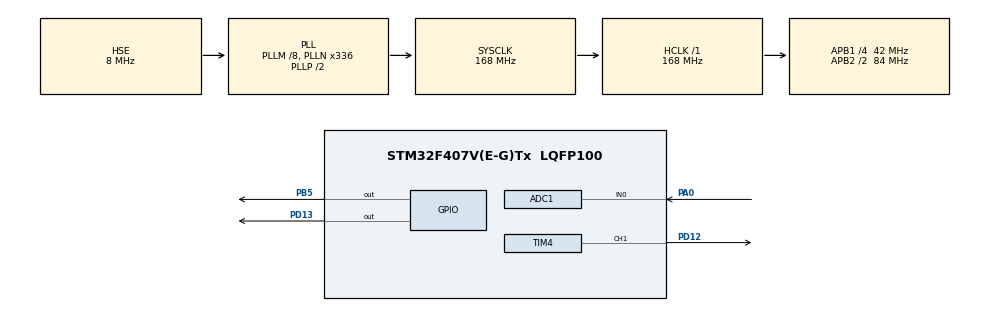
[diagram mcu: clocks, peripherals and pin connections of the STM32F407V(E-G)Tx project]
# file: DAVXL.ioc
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ADC1.Channel-0\#ChannelRegularConversion=ADC_CHANNEL_0
ADC1.ContinuousConvMode=ENABLE
ADC1.DMAContinuousRequests=ENABLE
ADC1.EnableAnalogWatchDog=false
ADC1.ExternalTrigConv=ADC_EXTERNALTRIGCONV_T3_TRGO
ADC1.NbrOfConversionFlag=1
ADC1.Rank-0\#ChannelRegularConversion=1
ADC1.SamplingTime-0\#ChannelRegularConversion=ADC_SAMPLETIME_3CYCLES
ADC1.master=1
Dma.ADC1.0.Direction=DMA_PERIPH_TO_MEMORY
Dma.ADC1.0.FIFOMode=DMA_FIFOMODE_DISABLE
Dma.ADC1.0.Instance=DMA2_Stream0
Dma.ADC1.0.MemDataAlignment=DMA_MDATAALIGN_HALFWORD
Dma.ADC1.0.MemInc=DMA_MINC_ENABLE
Dma.ADC1.0.Mode=DMA_CIRCULAR
Dma.ADC1.0.PeriphDataAlignment=DMA_PDATAALIGN_HALFWORD
Dma.ADC1.0.PeriphInc=DMA_PINC_DISABLE
Dma.ADC1.0.Priority=DMA_PRIORITY_LOW
Dma.Request0=ADC1
Dma.Request1=TIM4_CH1
Dma.TIM4_CH1.1.Direction=DMA_MEMORY_TO_PERIPH
Dma.TIM4_CH1.1.FIFOMode=DMA_FIFOMODE_DISABLE
Dma.TIM4_CH1.1.Instance=DMA1_Stream0
Dma.TIM4_CH1.1.MemDataAlignment=DMA_MDATAALIGN_HALFWORD
Dma.TIM4_CH1.1.MemInc=DMA_MINC_ENABLE
Dma.TIM4_CH1.1.Mode=DMA_NORMAL
Dma.TIM4_CH1.1.PeriphDataAlignment=DMA_PDATAALIGN_HALFWORD
Dma.TIM4_CH1.1.PeriphInc=DMA_PINC_DISABLE
Dma.TIM4_CH1.1.Priority=DMA_PRIORITY_LOW
Mcu.Family=STM32F4
Mcu.Name=STM32F407V(E-G)Tx
Mcu.Package=LQFP100
Mcu.UserConstants=LED_CNT,105
NVIC.DMA1_Stream0_IRQn=true\:0\:0\:false\:false\:true\:false\:true\:true
NVIC.DMA2_Stream0_IRQn=true\:0\:0\:false\:false\:true\:false\:true\:true
NVIC.PriorityGroup=NVIC_PRIORITYGROUP_4
NVIC.TIM3_IRQn=true\:0\:0\:false\:false\:true\:true\:true\:true
PA0-WKUP.Signal=ADCx_IN0
PB5.Signal=GPIO_Output
PD12.Signal=S_TIM4_CH1
PD13.Signal=GPIO_Output
PH0-OSC_IN.Mode=HSE-External-Oscillator
PH0-OSC_IN.Signal=RCC_OSC_IN
PH1-OSC_OUT.Mode=HSE-External-Oscillator
PH1-OSC_OUT.Signal=RCC_OSC_OUT
ProjectManager.HeapSize=0x200
ProjectManager.StackSize=0x400
ProjectManager.TargetToolchain=STM32CubeIDE
RCC.48MHZClocksFreq_Value=84000000
RCC.AHBFreq_Value=168000000
RCC.APB1CLKDivider=RCC_HCLK_DIV4
RCC.APB1Freq_Value=42000000
RCC.APB1TimFreq_Value=84000000
RCC.APB2CLKDivider=RCC_HCLK_DIV2
RCC.APB2Freq_Value=84000000
RCC.APB2TimFreq_Value=168000000
RCC.CortexFreq_Value=168000000
RCC.HCLKFreq_Value=168000000
RCC.HSE_VALUE=8000000
RCC.HSI_VALUE=16000000
RCC.LSE_VALUE=32768
RCC.PLLM=8
RCC.PLLN=336
RCC.PLLSourceVirtual=RCC_PLLSOURCE_HSE
RCC.SYSCLKFreq_VALUE=168000000
RCC.SYSCLKSource=RCC_SYSCLKSOURCE_PLLCLK
RCC.VCOOutputFreq_Value=336000000
SH.ADCx_IN0.0=ADC1_IN0,IN0
SH.S_TIM4_CH1.0=TIM4_CH1,PWM Generation1 CH1
STMicroelectronics.X-CUBE-ALGOBUILD.1.4.0.LibraryCcDSPOoLibraryJjDSPOoLibrary=true
TIM3.Period=20-1
TIM3.Prescaler=200-1
TIM3.TIM_MasterOutputTrigger=TIM_TRGO_UPDATE
TIM4.Channel-PWM\ Generation1\ CH1=TIM_CHANNEL_1
TIM4.Period=LED_CNT
VP_STMicroelectronics.X-CUBE-ALGOBUILD_VS_DSPOoLibraryJjLibrary_1.4.0_1.4.0.Mode=DSPOoLibraryJjLibrary
VP_TIM3_VS_ClockSourceINT.Mode=Internal
VP_TIM4_VS_ClockSourceINT.Mode=Internal
board=custom

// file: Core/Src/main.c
/* USER CODE BEGIN Header */
/**
  ******************************************************************************
  * @file           : main.c
  * @brief          : Main program body
  ******************************************************************************
  * @attention
  *
  * Copyright (c) 2025 STMicroelectronics.
  * All rights reserved.
  *
  * This software is licensed under terms that can be found in the LICENSE file
  * in the root directory of this software component.
  * If no LICENSE file comes with this software, it is provided AS-IS.
  *
  ******************************************************************************
  */
/* USER CODE END Header */
#include "main.h"

/* USER CODE BEGIN Includes */
#include "stdlib.h"
#include "arm_math.h"
#include "ws2812.h"
#define min(a,b) (((a)<(b))?(a):(b))
#define SamplesFFT 32
#define MATRIX_WIDTH 8
#define MATRIX_HEIGHT 8
/* USER CODE END Includes */

/* USER CODE BEGIN PTD */
ws2812_handleTypeDef ws2812; // The WS2812 panel handler
/* USER CODE END PTD */

ADC_HandleTypeDef hadc1;
DMA_HandleTypeDef hdma_adc1;

TIM_HandleTypeDef htim3;
TIM_HandleTypeDef htim4;
DMA_HandleTypeDef hdma_tim4_ch1;

void SystemClock_Config(void);
static void MX_GPIO_Init(void);
static void MX_DMA_Init(void);
static void MX_ADC1_Init(void);
static void MX_TIM3_Init(void);
static void MX_TIM4_Init(void);

/* USER CODE BEGIN 0 */

uint32_t adcValue[SamplesFFT];
float32_t input[SamplesFFT];
float32_t output[SamplesFFT];
uint32_t doConvert = SamplesFFT;
uint8_t spectrum[MATRIX_WIDTH];
void HAL_TIM_PeriodElapsedCallback(TIM_HandleTypeDef *htim){
	if (htim->Instance == TIM3) {
	        if (doConvert > 0) doConvert--;
	    }
}

// Done sending first half of the DMA buffer - this can now safely be updated
void HAL_TIM_PWM_PulseFinishedHalfCpltCallback(TIM_HandleTypeDef *htim) {

    if (htim->Instance == TIM4) {
        ws2812_update_buffer(&ws2812, &ws2812.dma_buffer[0]);
    }

}

// Done sending the second half of the DMA buffer - this can now be safely updated
void HAL_TIM_PWM_PulseFinishedCallback(TIM_HandleTypeDef *htim) {

    if (htim->Instance == TIM4) {
        ws2812_update_buffer(&ws2812, &ws2812.dma_buffer[BUFFER_SIZE]);
    }

}

void intensity_to_rgb(uint8_t intensity, uint8_t *r, uint8_t *g, uint8_t *b) {
    if (intensity == 0) {
        *r = 0; *g = 0; *b = 0;
    } else {
        *r = 0;
        *g = 200;
        *b = 0;
    }
}

// Hàm hiển thị spectrum trên ma trận 8x8
void display_spectrum(ws2812_handleTypeDef *ws2812, uint8_t spectrum[MATRIX_WIDTH]) {
    zeroLedValues(ws2812); // Xóa buffer LED

    for (int x = 0; x < MATRIX_WIDTH; x++) {
        uint8_t height = spectrum[x] > MATRIX_HEIGHT ? MATRIX_HEIGHT : spectrum[x];
        for (int y = 0; y < MATRIX_HEIGHT; y++) {
            int led_idx = (x % 2 == 0) ? (x * MATRIX_HEIGHT + y) : (x * MATRIX_HEIGHT + (MATRIX_HEIGHT - 1 - y));
            if (y < height) {
                uint8_t r, g, b;
                intensity_to_rgb(height, &r, &g, &b);
                setLedValues(ws2812, led_idx, r, g, b); // Đặt màu, tự động đặt is_dirty
            }
        }
    }
    // Không cần gọi ws2812_update_buffer, nó sẽ tự động chạy trong callback DMA
}

/* USER CODE END 0 */

int main(void)
{

  /* MCU Configuration--------------------------------------------------------*/

  /* Reset of all peripherals, Initializes the Flash interface and the Systick. */
  HAL_Init();

  /* Configure the system clock */
  SystemClock_Config();

  /* Initialize all configured peripherals */
  MX_GPIO_Init();
  MX_DMA_Init();
  MX_ADC1_Init();
  MX_TIM3_Init();
  MX_TIM4_Init();
  /* USER CODE BEGIN 2 */
  ws2812_init(&ws2812, &htim4, TIM_CHANNEL_1, 64);
  arm_cfft_radix4_instance_f32 fftInstance;
  HAL_ADC_Start_DMA(&hadc1, adcValue, SamplesFFT);
  HAL_TIM_Base_Start_IT(&htim3);
  int i = 1;
  /* USER CODE END 2 */

  /* Infinite loop */
  /* USER CODE BEGIN WHILE */
  while (1)
  {
	 	if(doConvert == 0){
		  		doConvert = SamplesFFT;

		  		for (int i = 0; i < SamplesFFT; i+=2) {
		  			input[i] = (float32_t)adcValue[i/2];
		  			input[i+1] = 0;
					}
		  		arm_cfft_radix4_init_f32(&fftInstance,SamplesFFT, 0, 1);
		  	//	arm_cfft_radix4_f32(&fftInstance, input);
		  		arm_cmplx_mag_f32(input, output, SamplesFFT);
		  		// Ánh xạ phổ thành 8 cột
		  		            float max_magnitude = 0;
		  		            for (int i = 1; i < SamplesFFT / 2; i++) { // Bỏ tần số 0 (DC)
		  		                if (output[i] > max_magnitude) max_magnitude = output[i];
		  		            }

		  		            int bin_size = (SamplesFFT / 2) / MATRIX_WIDTH; // 1024 / 8 = 128 mẫu mỗi bin
		  		            for (int x = 0; x < MATRIX_WIDTH; x++) {
		  		                float sum = 0;
		  		                for (int i = x * bin_size; i < (x + 1) * bin_size; i++) {
		  		                    sum += output[i];
		  		                }
		  		                float avg = sum / bin_size;
		  		                spectrum[x] = (uint8_t)(avg * MATRIX_HEIGHT / (max_magnitude * 0.5f));
		  		                spectrum[x] = min(spectrum[x], MATRIX_HEIGHT);
		  		            }

		  		            // Hiển thị phổ trên ma trận
		  		            display_spectrum(&ws2812, spectrum);

	 	}
    /* USER CODE END WHILE */

  }
}

void SystemClock_Config(void)
{
  RCC_OscInitTypeDef RCC_OscInitStruct = {0};
  RCC_ClkInitTypeDef RCC_ClkInitStruct = {0};

  /** Configure the main internal regulator output voltage
  */
  __HAL_RCC_PWR_CLK_ENABLE();
  __HAL_PWR_VOLTAGESCALING_CONFIG(PWR_REGULATOR_VOLTAGE_SCALE1);

  /** Initializes the RCC Oscillators according to the specified parameters
  * in the RCC_OscInitTypeDef structure.
  */
  RCC_OscInitStruct.OscillatorType = RCC_OSCILLATORTYPE_HSE;
  RCC_OscInitStruct.HSEState = RCC_HSE_ON;
  RCC_OscInitStruct.PLL.PLLState = RCC_PLL_ON;
  RCC_OscInitStruct.PLL.PLLSource = RCC_PLLSOURCE_HSE;
  RCC_OscInitStruct.PLL.PLLM = 8;
  RCC_OscInitStruct.PLL.PLLN = 336;
  RCC_OscInitStruct.PLL.PLLP = RCC_PLLP_DIV2;
  RCC_OscInitStruct.PLL.PLLQ = 4;
  if (HAL_RCC_OscConfig(&RCC_OscInitStruct) != HAL_OK)
  {
    Error_Handler();
  }

  /** Initializes the CPU, AHB and APB buses clocks
  */
  RCC_ClkInitStruct.ClockType = RCC_CLOCKTYPE_HCLK|RCC_CLOCKTYPE_SYSCLK
                              |RCC_CLOCKTYPE_PCLK1|RCC_CLOCKTYPE_PCLK2;
  RCC_ClkInitStruct.SYSCLKSource = RCC_SYSCLKSOURCE_PLLCLK;
  RCC_ClkInitStruct.AHBCLKDivider = RCC_SYSCLK_DIV1;
  RCC_ClkInitStruct.APB1CLKDivider = RCC_HCLK_DIV4;
  RCC_ClkInitStruct.APB2CLKDivider = RCC_HCLK_DIV2;

  if (HAL_RCC_ClockConfig(&RCC_ClkInitStruct, FLASH_LATENCY_5) != HAL_OK)
  {
    Error_Handler();
  }
}

static void MX_ADC1_Init(void)
{

  ADC_ChannelConfTypeDef sConfig = {0};

  /** Configure the global features of the ADC (Clock, Resolution, Data Alignment and number of conversion)
  */
  hadc1.Instance = ADC1;
  hadc1.Init.ClockPrescaler = ADC_CLOCK_SYNC_PCLK_DIV4;
  hadc1.Init.Resolution = ADC_RESOLUTION_12B;
  hadc1.Init.ScanConvMode = DISABLE;
  hadc1.Init.ContinuousConvMode = ENABLE;
  hadc1.Init.DiscontinuousConvMode = DISABLE;
  hadc1.Init.ExternalTrigConvEdge = ADC_EXTERNALTRIGCONVEDGE_RISING;
  hadc1.Init.ExternalTrigConv = ADC_EXTERNALTRIGCONV_T3_TRGO;
  hadc1.Init.DataAlign = ADC_DATAALIGN_RIGHT;
  hadc1.Init.NbrOfConversion = 1;
  hadc1.Init.DMAContinuousRequests = ENABLE;
  hadc1.Init.EOCSelection = ADC_EOC_SINGLE_CONV;
  if (HAL_ADC_Init(&hadc1) != HAL_OK)
  {
    Error_Handler();
  }

  /** Configure for the selected ADC regular channel its corresponding rank in the sequencer and its sample time.
  */
  sConfig.Channel = ADC_CHANNEL_0;
  sConfig.Rank = 1;
  sConfig.SamplingTime = ADC_SAMPLETIME_3CYCLES;
  if (HAL_ADC_ConfigChannel(&hadc1, &sConfig) != HAL_OK)
  {
    Error_Handler();
  }

}

static void MX_TIM3_Init(void)
{

  TIM_ClockConfigTypeDef sClockSourceConfig = {0};
  TIM_MasterConfigTypeDef sMasterConfig = {0};

  htim3.Instance = TIM3;
  htim3.Init.Prescaler = 200-1;
  htim3.Init.CounterMode = TIM_COUNTERMODE_UP;
  htim3.Init.Period = 20-1;
  htim3.Init.ClockDivision = TIM_CLOCKDIVISION_DIV1;
  htim3.Init.AutoReloadPreload = TIM_AUTORELOAD_PRELOAD_DISABLE;
  if (HAL_TIM_Base_Init(&htim3) != HAL_OK)
  {
    Error_Handler();
  }
  sClockSourceConfig.ClockSource = TIM_CLOCKSOURCE_INTERNAL;
  if (HAL_TIM_ConfigClockSource(&htim3, &sClockSourceConfig) != HAL_OK)
  {
    Error_Handler();
  }
  sMasterConfig.MasterOutputTrigger = TIM_TRGO_UPDATE;
  sMasterConfig.MasterSlaveMode = TIM_MASTERSLAVEMODE_DISABLE;
  if (HAL_TIMEx_MasterConfigSynchronization(&htim3, &sMasterConfig) != HAL_OK)
  {
    Error_Handler();
  }

}

static void MX_TIM4_Init(void)
{

  TIM_ClockConfigTypeDef sClockSourceConfig = {0};
  TIM_MasterConfigTypeDef sMasterConfig = {0};
  TIM_OC_InitTypeDef sConfigOC = {0};

  htim4.Instance = TIM4;
  htim4.Init.Prescaler = 0;
  htim4.Init.CounterMode = TIM_COUNTERMODE_UP;
  htim4.Init.Period = LED_CNT;
  htim4.Init.ClockDivision = TIM_CLOCKDIVISION_DIV1;
  htim4.Init.AutoReloadPreload = TIM_AUTORELOAD_PRELOAD_DISABLE;
  if (HAL_TIM_Base_Init(&htim4) != HAL_OK)
  {
    Error_Handler();
  }
  sClockSourceConfig.ClockSource = TIM_CLOCKSOURCE_INTERNAL;
  if (HAL_TIM_ConfigClockSource(&htim4, &sClockSourceConfig) != HAL_OK)
  {
    Error_Handler();
  }
  if (HAL_TIM_PWM_Init(&htim4) != HAL_OK)
  {
    Error_Handler();
  }
  sMasterConfig.MasterOutputTrigger = TIM_TRGO_RESET;
  sMasterConfig.MasterSlaveMode = TIM_MASTERSLAVEMODE_DISABLE;
  if (HAL_TIMEx_MasterConfigSynchronization(&htim4, &sMasterConfig) != HAL_OK)
  {
    Error_Handler();
  }
  sConfigOC.OCMode = TIM_OCMODE_PWM1;
  sConfigOC.Pulse = 0;
  sConfigOC.OCPolarity = TIM_OCPOLARITY_HIGH;
  sConfigOC.OCFastMode = TIM_OCFAST_DISABLE;
  if (HAL_TIM_PWM_ConfigChannel(&htim4, &sConfigOC, TIM_CHANNEL_1) != HAL_OK)
  {
    Error_Handler();
  }
  HAL_TIM_MspPostInit(&htim4);

}

static void MX_DMA_Init(void)
{

  /* DMA controller clock enable */
  __HAL_RCC_DMA2_CLK_ENABLE();
  __HAL_RCC_DMA1_CLK_ENABLE();

  /* DMA interrupt init */
  /* DMA1_Stream0_IRQn interrupt configuration */
  HAL_NVIC_SetPriority(DMA1_Stream0_IRQn, 0, 0);
  HAL_NVIC_EnableIRQ(DMA1_Stream0_IRQn);
  /* DMA2_Stream0_IRQn interrupt configuration */
  HAL_NVIC_SetPriority(DMA2_Stream0_IRQn, 0, 0);
  HAL_NVIC_EnableIRQ(DMA2_Stream0_IRQn);

}

static void MX_GPIO_Init(void)
{
  GPIO_InitTypeDef GPIO_InitStruct = {0};

  /* GPIO Ports Clock Enable */
  __HAL_RCC_GPIOH_CLK_ENABLE();
  __HAL_RCC_GPIOA_CLK_ENABLE();
  __HAL_RCC_GPIOD_CLK_ENABLE();
  __HAL_RCC_GPIOB_CLK_ENABLE();

  /*Configure GPIO pin Output Level */
  HAL_GPIO_WritePin(GPIOD, GPIO_PIN_13, GPIO_PIN_RESET);

  /*Configure GPIO pin Output Level */
  HAL_GPIO_WritePin(GPIOB, GPIO_PIN_5, GPIO_PIN_RESET);

  /*Configure GPIO pin : PD13 */
  GPIO_InitStruct.Pin = GPIO_PIN_13;
  GPIO_InitStruct.Mode = GPIO_MODE_OUTPUT_PP;
  GPIO_InitStruct.Pull = GPIO_NOPULL;
  GPIO_InitStruct.Speed = GPIO_SPEED_FREQ_LOW;
  HAL_GPIO_Init(GPIOD, &GPIO_InitStruct);

  /*Configure GPIO pin : PB5 */
  GPIO_InitStruct.Pin = GPIO_PIN_5;
  GPIO_InitStruct.Mode = GPIO_MODE_OUTPUT_PP;
  GPIO_InitStruct.Pull = GPIO_NOPULL;
  GPIO_InitStruct.Speed = GPIO_SPEED_FREQ_LOW;
  HAL_GPIO_Init(GPIOB, &GPIO_InitStruct);

}

void Error_Handler(void)
{
  __disable_irq();
  while (1)
  {
  }
}
